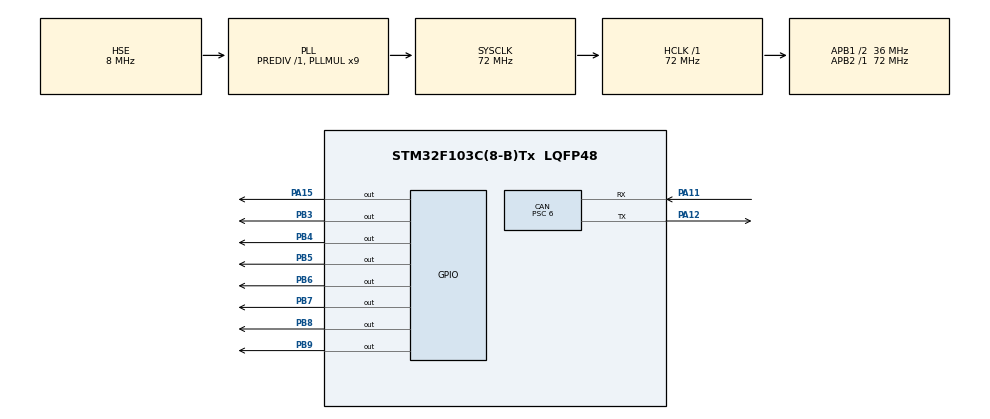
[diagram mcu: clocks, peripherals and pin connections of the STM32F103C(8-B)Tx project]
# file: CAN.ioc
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CAN.BS1=CAN_BS1_13TQ
CAN.BS2=CAN_BS2_2TQ
CAN.CalculateBaudRate=374999
CAN.CalculateTimeBit=2666
CAN.CalculateTimeQuantum=166.66666666666669
CAN.Mode=CAN_MODE_LOOPBACK
CAN.Prescaler=6
Mcu.Family=STM32F1
Mcu.Name=STM32F103C(8-B)Tx
Mcu.Package=LQFP48
NVIC.CAN1_RX1_IRQn=true\:0\:0\:false\:false\:true\:true\:true\:true
NVIC.PriorityGroup=NVIC_PRIORITYGROUP_4
NVIC.USB_LP_CAN1_RX0_IRQn=true\:0\:0\:false\:false\:true\:true\:true\:true
PA11.Mode=CAN_Activate
PA11.Signal=CAN_RX
PA12.Mode=CAN_Activate
PA12.Signal=CAN_TX
PA13.Mode=Serial_Wire
PA13.Signal=SYS_JTMS-SWDIO
PA14.Mode=Serial_Wire
PA14.Signal=SYS_JTCK-SWCLK
PA15.GPIO_PuPd=GPIO_PULLUP
PA15.PinState=GPIO_PIN_SET
PA15.Signal=GPIO_Output
PB3.GPIO_PuPd=GPIO_PULLUP
PB3.PinState=GPIO_PIN_SET
PB3.Signal=GPIO_Output
PB4.GPIO_PuPd=GPIO_PULLUP
PB4.PinState=GPIO_PIN_SET
PB4.Signal=GPIO_Output
PB5.GPIO_PuPd=GPIO_PULLUP
PB5.PinState=GPIO_PIN_SET
PB5.Signal=GPIO_Output
PB6.GPIO_PuPd=GPIO_PULLUP
PB6.PinState=GPIO_PIN_SET
PB6.Signal=GPIO_Output
PB7.GPIO_PuPd=GPIO_PULLUP
PB7.PinState=GPIO_PIN_SET
PB7.Signal=GPIO_Output
PB8.GPIO_PuPd=GPIO_PULLUP
PB8.PinState=GPIO_PIN_SET
PB8.Signal=GPIO_Output
PB9.GPIO_PuPd=GPIO_PULLUP
PB9.PinState=GPIO_PIN_SET
PB9.Signal=GPIO_Output
PD0-OSC_IN.Mode=HSE-External-Oscillator
PD0-OSC_IN.Signal=RCC_OSC_IN
PD1-OSC_OUT.Mode=HSE-External-Oscillator
PD1-OSC_OUT.Signal=RCC_OSC_OUT
ProjectManager.HeapSize=0x200
ProjectManager.StackSize=0x400
ProjectManager.TargetToolchain=MDK-ARM V5.32
RCC.AHBFreq_Value=72000000
RCC.APB1CLKDivider=RCC_HCLK_DIV2
RCC.APB1Freq_Value=36000000
RCC.APB1TimFreq_Value=72000000
RCC.APB2Freq_Value=72000000
RCC.APB2TimFreq_Value=72000000
RCC.HCLKFreq_Value=72000000
RCC.PLLMUL=RCC_PLL_MUL9
RCC.PLLSourceVirtual=RCC_PLLSOURCE_HSE
RCC.SYSCLKFreq_VALUE=72000000
RCC.SYSCLKSource=RCC_SYSCLKSOURCE_PLLCLK
RCC.USBFreq_Value=72000000
board=custom

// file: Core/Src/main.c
/* USER CODE BEGIN Header */
/**
  ******************************************************************************
  * @file           : main.c
  * @brief          : Main program body
  ******************************************************************************
  * @attention
  *
  * Copyright (c) 2025 STMicroelectronics.
  * All rights reserved.
  *
  * This software is licensed under terms that can be found in the LICENSE file
  * in the root directory of this software component.
  * If no LICENSE file comes with this software, it is provided AS-IS.
  *
  ******************************************************************************
  */
/* USER CODE END Header */
#include "main.h"
#include "can.h"
#include "gpio.h"

/* USER CODE BEGIN PM */

// 滤波器编号
#define CAN_FILTER(X) ((X) << 3)
// 接收队列
#define CAN_FIFO_0 (0 << 2)
#define CAN_FIFO_1 (1 << 2)
//标准帧或扩展帧
#define CAN_STDID (0 << 1)
#define CAN_EXTID (1 << 1)
// 数据帧或遥控帧
#define CAN_DATA_TYPE (0 << 0)
#define CAN_REMOTE_TYPE (1 << 0)
/* USER CODE END PM */

/* USER CODE BEGIN PV */
uint8_t Send_Data = 0;
/* USER CODE END PV */

void SystemClock_Config(void);
/* USER CODE BEGIN PFP */

// 初始化CAN总线
void CAN_Init(CAN_HandleTypeDef *hcan){
	HAL_CAN_Start(hcan);
	__HAL_CAN_ENABLE_IT(hcan,CAN_IT_RX_FIFO0_MSG_PENDING);
	__HAL_CAN_ENABLE_IT(hcan,CAN_IT_RX_FIFO1_MSG_PENDING);
}
// 发送数据帧
uint8_t CAN_Send_Data(CAN_HandleTypeDef *hcan,uint16_t ID,uint8_t *Data,uint8_t Length){
	CAN_TxHeaderTypeDef tx_header;
	uint32_t used_mailbox;
	// 检测关键传参
	assert_param(hcan != NULL);
	tx_header.StdId = ID;
	tx_header.ExtId = 0;
	tx_header.IDE = 0;
	tx_header.RTR = 0;
	tx_header.DLC = Length;

	return (HAL_CAN_AddTxMessage(hcan,&tx_header,Data,&used_mailbox));
}
// 滤波器
void CAN_Filter_Mask_Config(CAN_HandleTypeDef *hcan,uint8_t Object_Para,uint32_t ID,uint32_t Mask_ID){
	CAN_FilterTypeDef can_filter_init_structure;
	assert_param(hcan != NULL);
	if((Object_Para & 0x02)){
		// 数据帧
		// 掩码后ID的高16位bit
		can_filter_init_structure.FilterIdHigh = ID << 3 << 16;
		//掩码后ID的低16位bit
		can_filter_init_structure.FilterIdLow = ID << 3 | ((Object_Para & 0x03) << 1);
		// ID掩码值高16bit
		can_filter_init_structure.FilterMaskIdHigh = Mask_ID << 3 << 16;
		// ID掩码值低16bit
		can_filter_init_structure.FilterMaskIdLow = Mask_ID << 3 | ((Object_Para & 0x03) << 1);
	}else{
		// 遥控帧
		//掩码后ID的高16位bit
		can_filter_init_structure.FilterIdHigh = ID << 5;
		//掩码后ID的低16位bit
		can_filter_init_structure.FilterIdLow = ((Object_Para & 0x03) << 1);
		// ID掩码值高16bit
		can_filter_init_structure.FilterMaskIdHigh = Mask_ID << 5;
		// ID掩码值低16bit
		can_filter_init_structure.FilterMaskIdLow = ((Object_Para & 0x03) << 1);
	}
	// 滤波器序号,0-27,共28个滤波器
	can_filter_init_structure.FilterBank = Object_Para % 14;
	// 滤波器绑定FIFOx,只能绑定一个
	can_filter_init_structure.FilterFIFOAssignment = (Object_Para >> 2) & 0x01;
	// 使能滤波器
	can_filter_init_structure.FilterActivation = ENABLE;
	// 滤波器模式,设置ID掩码模式
	can_filter_init_structure.FilterMode = CAN_FILTERMODE_IDMASK;
	// 32位滤波
	can_filter_init_structure.FilterScale = CAN_FILTERSCALE_32BIT;
	// 从机模式选择开始单元
	can_filter_init_structure.SlaveStartFilterBank = 14;
	HAL_CAN_ConfigFilter(hcan,&can_filter_init_structure);
}
// LED控制
void LED_Control(uint8_t data){
	HAL_GPIO_WritePin(GPIOB,GPIO_PIN_3,((data & 1) == 0) ? GPIO_PIN_SET : GPIO_PIN_RESET);
	HAL_GPIO_WritePin(GPIOB,GPIO_PIN_4,((data & 2) == 0) ? GPIO_PIN_SET : GPIO_PIN_RESET);
	HAL_GPIO_WritePin(GPIOB,GPIO_PIN_5,((data & 4) == 0) ? GPIO_PIN_SET : GPIO_PIN_RESET);
	HAL_GPIO_WritePin(GPIOB,GPIO_PIN_6,((data & 8) == 0) ? GPIO_PIN_SET : GPIO_PIN_RESET);
	HAL_GPIO_WritePin(GPIOB,GPIO_PIN_7,((data & 16) == 0) ? GPIO_PIN_SET : GPIO_PIN_RESET);
	HAL_GPIO_WritePin(GPIOB,GPIO_PIN_8,((data & 32) == 0) ? GPIO_PIN_SET : GPIO_PIN_RESET);
	HAL_GPIO_WritePin(GPIOB,GPIO_PIN_9,((data & 64) == 0) ? GPIO_PIN_SET : GPIO_PIN_RESET);
	HAL_GPIO_WritePin(GPIOA,GPIO_PIN_15,((data & 128) == 0) ? GPIO_PIN_SET : GPIO_PIN_RESET);
}
// 回调函数
void HAL_CAN_RxFifo1MsgPendingCallback(CAN_HandleTypeDef *hcan){
	CAN_RxHeaderTypeDef header;
	uint8_t data;
	HAL_CAN_GetRxMessage(hcan,CAN_FILTER_FIFO1,&header,&data);
	LED_Control(data);
}
/* USER CODE END PFP */

int main(void)
{

  /* MCU Configuration--------------------------------------------------------*/

  /* Reset of all peripherals, Initializes the Flash interface and the Systick. */
  HAL_Init();

  /* Configure the system clock */
  SystemClock_Config();

  /* Initialize all configured peripherals */
  MX_GPIO_Init();
  MX_CAN_Init();
  /* USER CODE BEGIN 2 */
	CAN_Init(&hcan);
	CAN_Filter_Mask_Config(&hcan,CAN_FILTER(0) | CAN_FIFO_0 | CAN_STDID | CAN_DATA_TYPE,0x114,0x7ff);
  /* USER CODE END 2 */

  /* Infinite loop */
  /* USER CODE BEGIN WHILE */
  while (1)
  {
		Send_Data++;
		CAN_Send_Data(&hcan,0x114,&Send_Data,1);
    /* USER CODE END WHILE */

  }
	HAL_Delay(250);
}

void SystemClock_Config(void)
{
  RCC_OscInitTypeDef RCC_OscInitStruct = {0};
  RCC_ClkInitTypeDef RCC_ClkInitStruct = {0};

  /** Initializes the RCC Oscillators according to the specified parameters
  * in the RCC_OscInitTypeDef structure.
  */
  RCC_OscInitStruct.OscillatorType = RCC_OSCILLATORTYPE_HSE;
  RCC_OscInitStruct.HSEState = RCC_HSE_ON;
  RCC_OscInitStruct.HSEPredivValue = RCC_HSE_PREDIV_DIV1;
  RCC_OscInitStruct.HSIState = RCC_HSI_ON;
  RCC_OscInitStruct.PLL.PLLState = RCC_PLL_ON;
  RCC_OscInitStruct.PLL.PLLSource = RCC_PLLSOURCE_HSE;
  RCC_OscInitStruct.PLL.PLLMUL = RCC_PLL_MUL9;
  if (HAL_RCC_OscConfig(&RCC_OscInitStruct) != HAL_OK)
  {
    Error_Handler();
  }

  /** Initializes the CPU, AHB and APB buses clocks
  */
  RCC_ClkInitStruct.ClockType = RCC_CLOCKTYPE_HCLK|RCC_CLOCKTYPE_SYSCLK
                              |RCC_CLOCKTYPE_PCLK1|RCC_CLOCKTYPE_PCLK2;
  RCC_ClkInitStruct.SYSCLKSource = RCC_SYSCLKSOURCE_PLLCLK;
  RCC_ClkInitStruct.AHBCLKDivider = RCC_SYSCLK_DIV1;
  RCC_ClkInitStruct.APB1CLKDivider = RCC_HCLK_DIV2;
  RCC_ClkInitStruct.APB2CLKDivider = RCC_HCLK_DIV1;

  if (HAL_RCC_ClockConfig(&RCC_ClkInitStruct, FLASH_LATENCY_2) != HAL_OK)
  {
    Error_Handler();
  }
}

void Error_Handler(void)
{
  __disable_irq();
  while (1)
  {
  }
}
